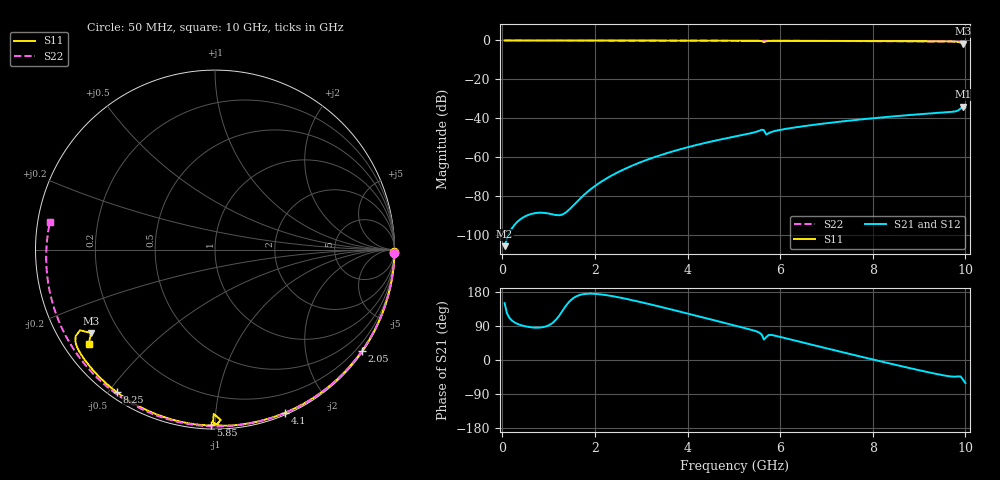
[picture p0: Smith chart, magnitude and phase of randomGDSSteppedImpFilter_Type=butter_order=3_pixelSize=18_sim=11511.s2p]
! freq	dB(S11)	phase(S11)	dB(S12)	phase(S12)
!  dB(S21)	phase(S21)	dB(S22)	phase(S22)
!S-par simulation data
#  GHz  S  DB  R 50
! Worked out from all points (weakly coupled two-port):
!   200 points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, 50 MHz to 10 GHz, reference 50 ohm
!   highest |S21| = -34.04 dB at 9.95 GHz (marker M1); lowest = -106.0 dB at 50 MHz (marker M2)
!   lowest |S11| = -1.6 dB at 9.95 GHz (marker M3), VSWR 10.91, Z = 5.01 - j15.1 ohm
!   |S11| at or under -10 dB: nowhere
!   |S22| runs from -0.6 to 0.0 dB; largest |S21 - S12| = 0
!   S11 on the Smith chart (normalised r, x): 50 MHz: open; 2.05 GHz: 0.03, -3.22; 4.1 GHz: 0.02, -1.51; 5.85 GHz: 0.02, -0.97; 8.25 GHz: 0.02, -0.52; 10 GHz: 0.07, -0.33
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0.05  -0.00 -0.9  -105.97 149.9  -105.97 149.9  -0.00 -1.1
0.85  -0.02 -14.5  -88.74 86.1  -88.74 86.1  -0.02 -18.1
1.75  -0.04 -29.5  -79.83 173.7  -79.83 173.7  -0.05 -36.9
2.05  -0.04 -34.5  -74.16 174.1  -74.16 174.1  -0.05 -43.0
2.65  -0.06 -44.2  -66.12 162.0  -66.12 162.0  -0.07 -55.0
3.4  -0.07 -56.1  -59.21 140.8  -59.21 140.8  -0.09 -69.7
4.1  -0.09 -66.9  -54.40 119.5  -54.40 119.5  -0.11 -82.9
5.05  -0.13 -81.1  -49.33 90.0  -49.33 90.0  -0.15 -100.2
5.45  -0.16 -87.3  -47.30 76.9  -47.30 76.9  -0.17 -107.3
5.6  -0.33 -90.7  -45.97 67.3  -45.97 67.3  -0.18 -109.9
5.65  -0.77 -90.4  -46.24 54.0  -46.24 54.0  -0.18 -110.8
5.7  -0.45 -88.0  -48.47 60.3  -48.47 60.3  -0.19 -111.7
5.85  -0.18 -91.4  -46.86 65.2  -46.86 65.2  -0.19 -114.3
6.7  -0.20 -103.8  -43.54 39.8  -43.54 39.8  -0.25 -129.1
7.5  -0.25 -114.7  -41.28 16.0  -41.28 16.0  -0.31 -142.9
8.25  -0.31 -124.6  -39.52 -5.9  -39.52 -5.9  -0.39 -156.1
8.35  -0.32 -125.9  -39.31 -8.7  -39.31 -8.7  -0.40 -157.9
9.35  -0.43 -139.3  -37.40 -36.3  -37.40 -36.3  -0.52 -176.5
9.8  -0.64 -146.9  -36.41 -43.9  -36.41 -43.9  -0.58 174.5
9.9  -1.15 -149.1  -35.05 -43.6  -35.05 -43.6  -0.59 172.4
9.95  -1.60 -146.1  -34.04 -52.2  -34.04 -52.2  -0.60 171.4
10  -1.11 -143.2  -34.59 -60.9  -34.59 -60.9  -0.61 170.4
